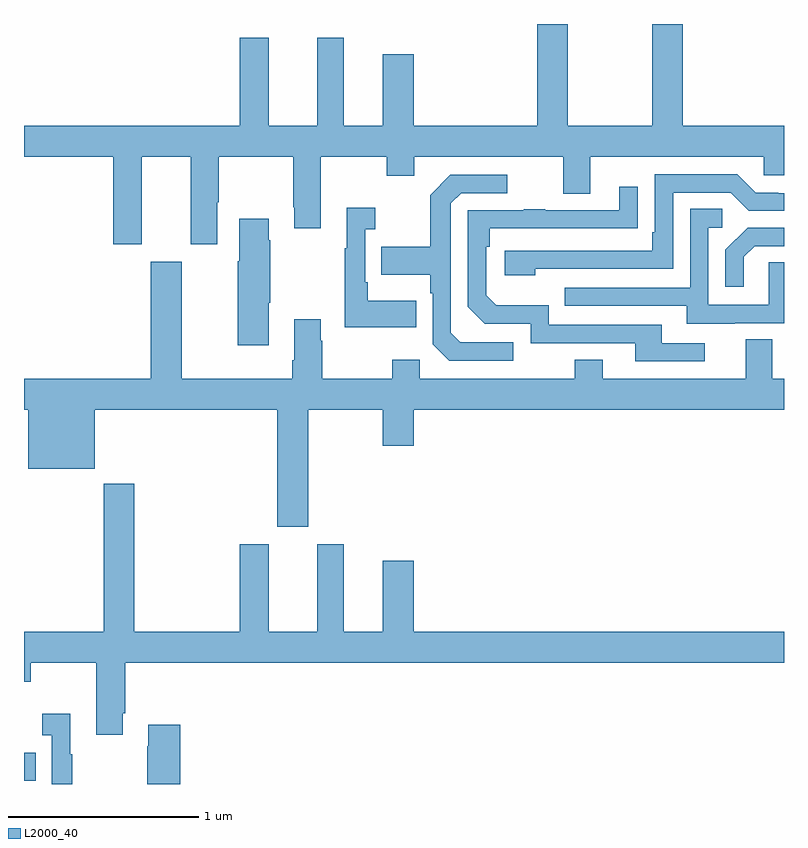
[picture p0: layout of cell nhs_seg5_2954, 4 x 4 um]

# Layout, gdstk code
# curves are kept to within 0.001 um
import gdstk
lib = gdstk.Library(unit=1e-6, precision=1e-09)
def R(c, l, rs):  # rectangles x0, y0, x1, y1
    for r in rs: c.add(gdstk.rectangle(r[:2], r[2:], *l))
def P(c, l, *ps):  # polygons
    for p in ps: c.add(gdstk.Polygon(p, *l))
L2000_40 = (2000, 40)

nhs_seg5_2954 = lib.new_cell('nhs_seg5_2954')
R(nhs_seg5_2954, L2000_40, [(283,846.815,283.061,846.963)])
P(nhs_seg5_2954, L2000_40, [(283.621,850.1),(283.877,850.1),(283.877,849.639),(284.017,849.639),(284.017,849.862),(284.025,849.862),(284.025,850.1),(284.416,850.1),(284.416,849.835),(284.423,849.835),(284.423,849.723),(284.563,849.723),(284.563,850.1),(284.908,850.1),(284.908,850.001),(285.055,850.001),(285.055,850.1),(285.839,850.1),(285.839,849.906),(285.979,849.906),(285.979,850.1),(286.893,850.1),(286.893,850.002),(287,850.002),(287,850.264),(286.466,850.264),(286.466,850.799),(286.306,850.799),(286.306,850.264),(285.861,850.264),(285.861,850.799),(285.701,850.799),(285.701,850.264),(285.052,850.264),(285.052,850.639),(284.888,850.639),(284.888,850.264),(284.683,850.264),(284.683,850.726),(284.543,850.726),(284.543,850.264),(284.287,850.264),(284.287,850.726),(284.135,850.726),(284.135,850.264),(283,850.264),(283,850.1),(283.469,850.1),(283.469,849.639),(283.621,849.639)],
  [(285.692,849.51),(286.416,849.51),(286.416,849.912),(286.719,849.912),(286.815,849.816),(287,849.816),(287,849.909),(286.97,849.909),(286.97,849.912),(286.851,849.912),(286.755,850.008),(286.32,850.008),(286.32,849.703),(286.307,849.703),(286.307,849.606),(285.531,849.606),(285.531,849.476),(285.692,849.476)],
  [(285.574,849.123),(285.297,849.123),(285.246,849.174),(285.246,849.855),(285.3,849.909),(285.544,849.909),(285.544,850.005),(285.243,850.005),(285.138,849.899),(285.138,849.627),(284.881,849.627),(284.881,849.479),(285.138,849.479),(285.138,849.383),(285.15,849.383),(285.15,849.114),(285.237,849.027),(285.574,849.027)],
  [(286.582,849.12),(286.357,849.12),(286.357,849.216),(285.762,849.216),(285.762,849.319),(285.485,849.319),(285.432,849.372),(285.432,849.626),(285.452,849.626),(285.452,849.723),(286.229,849.724),(286.229,849.943),(286.133,849.943),(286.133,849.819),(285.743,849.819),(285.743,849.824),(285.631,849.824),(285.631,849.819),(285.336,849.819),(285.336,849.312),(285.426,849.222),(285.666,849.222),(285.666,849.12),(286.217,849.12),(286.217,849.024),(286.582,849.024)],
  [(285.065,849.343),(284.809,849.343),(284.809,849.439),(284.796,849.439),(284.796,849.719),(284.848,849.719),(284.848,849.832),(284.699,849.832),(284.699,849.619),(284.688,849.619),(284.688,849.203),(285.065,849.203)],
  [(286.741,849.225),(287,849.225),(287,849.545),(286.92,849.545),(286.92,849.321),(286.602,849.321),(286.602,849.726),(286.675,849.726),(286.675,849.827),(286.506,849.827),(286.506,849.411),(285.847,849.411),(285.847,849.315),(286.487,849.315),(286.487,849.221),(286.741,849.221)],
  [(284.287,849.331),(284.295,849.331),(284.295,849.662),(284.287,849.662),(284.287,849.775),(284.132,849.775),(284.132,849.551),(284.125,849.551),(284.125,849.108),(284.287,849.108)],
  [(286.789,849.573),(286.846,849.63),(287,849.63),(287,849.726),(286.808,849.726),(286.692,849.61),(286.692,849.417),(286.789,849.417)],
  [(284.423,849.028),(284.411,849.028),(284.411,848.932),(283.831,848.932),(283.831,849.547),(283.667,849.547),(283.667,848.932),(283,848.932),(283,848.768),(283.022,848.768),(283.022,848.459),(283.372,848.459),(283.372,848.768),(284.333,848.768),(284.333,848.154),(284.497,848.154),(284.497,848.768),(284.888,848.768),(284.888,848.58),(285.052,848.58),(285.052,848.768),(287,848.768),(287,848.932),(286.939,848.932),(286.939,849.14),(286.799,849.14),(286.799,848.932),(286.045,848.932),(286.045,849.031),(285.898,849.031),(285.898,848.932),(285.084,848.932),(285.084,849.031),(284.938,849.031),(284.938,848.932),(284.571,848.932),(284.571,849.131),(284.563,849.131),(284.563,849.244),(284.423,849.244)],
  [(283.519,847.171),(283.532,847.171),(283.532,847.436),(287,847.436),(287,847.6),(285.052,847.6),(285.052,847.975),(284.888,847.975),(284.888,847.6),(284.683,847.6),(284.683,848.062),(284.543,848.062),(284.543,847.6),(284.287,847.6),(284.287,848.062),(284.135,848.062),(284.135,847.6),(283.58,847.6),(283.58,848.38),(283.42,848.38),(283.42,847.6),(283,847.6),(283,847.337),(283.035,847.337),(283.035,847.436),(283.379,847.436),(283.379,847.059),(283.519,847.059)],
  [(283.255,846.955),(283.243,846.955),(283.243,847.168),(283.095,847.168),(283.095,847.055),(283.146,847.055),(283.146,846.799),(283.255,846.799)],
  [(283.823,847.111),(283.655,847.111),(283.655,846.998),(283.648,846.998),(283.648,846.799),(283.823,846.799)])

lib.write_gds('nhs_seg5_2954.gds')
